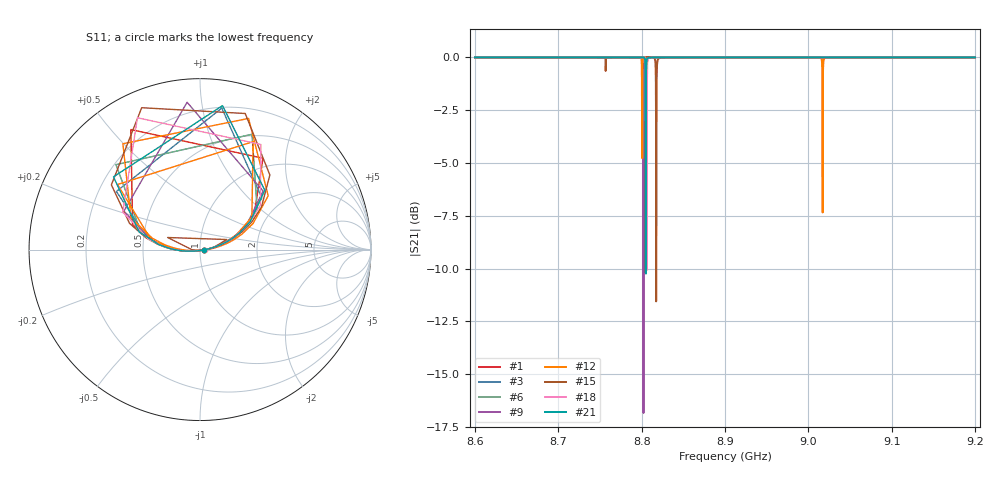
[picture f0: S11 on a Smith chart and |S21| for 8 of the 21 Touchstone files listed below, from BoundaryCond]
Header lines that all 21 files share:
! Sonnet Data File
! From: emgraph Version : 16.52
! From Project: 171117_Xmon_fullysym
! Data is De-embedded
!< HDATE 11/26/2017 17:24:49
!< MDATE 11/26/2017 17:24:49
!< PARAMS
!< END PARAMS
# GHZ S MA R 50.90000
Fixed: Lj = 11.0, Gap = 1.0, Pwid = 2000.0, Airgap = 6.0, Width = 10.0
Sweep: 8.6 GHz to 9.2 GHz
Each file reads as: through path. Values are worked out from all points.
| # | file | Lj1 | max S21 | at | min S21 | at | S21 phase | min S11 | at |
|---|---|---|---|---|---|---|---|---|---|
| 1 | Xmon_fullysym_VariL80.s2p | 8.0 | 0.00 dB | 8.7966 GHz | -8.3 dB | 8.803 GHz | -82 deg at 8.9 GHz | -45.4 dB | 8.798 GHz |
| 2 | Xmon_fullysym_VariL82.s2p | 8.2 | 0.00 dB | 8.7966 GHz | -16.8 dB | 8.803 GHz | -82 deg at 8.9 GHz | -45.4 dB | 8.798 GHz |
| 3 | Xmon_fullysym_VariL84.s2p | 8.4 | 0.00 dB | 8.7964 GHz | -10.1 dB | 8.803 GHz | -82 deg at 8.9 GHz | -45.4 dB | 8.798 GHz |
| 4 | Xmon_fullysym_VariL86.s2p | 8.6 | 0.00 dB | 8.7964 GHz | -5.6 dB | 8.8028 GHz | -82 deg at 8.9 GHz | -45.4 dB | 8.7978 GHz |
| 5 | Xmon_fullysym_VariL88.s2p | 8.8 | 0.00 dB | 8.7964 GHz | -17.5 dB | 8.8028 GHz | -82 deg at 8.9 GHz | -45.4 dB | 8.7978 GHz |
| 6 | Xmon_fullysym_VariL90.s2p | 9.0 | 0.00 dB | 8.7964 GHz | -5.3 dB | 8.8028 GHz | -82 deg at 8.9 GHz | -45.4 dB | 8.7978 GHz |
| 7 | Xmon_fullysym_VariL92.s2p | 9.2 | 0.00 dB | 8.7962 GHz | -14.5 dB | 8.8026 GHz | -82 deg at 8.9 GHz | -45.4 dB | 8.7976 GHz |
| 8 | Xmon_fullysym_VariL94.s2p | 9.4 | 0.00 dB | 8.7962 GHz | -15.5 dB | 8.8024 GHz | -82 deg at 8.9 GHz | -45.4 dB | 8.7976 GHz |
| 9 | Xmon_fullysym_VariL96.s2p | 9.6 | 0.00 dB | 8.796 GHz | -16.8 dB | 8.8022 GHz | -82 deg at 8.9 GHz | -45.4 dB | 8.7974 GHz |
| 10 | Xmon_fullysym_VariL98.s2p | 9.8 | 0.00 dB | 9.1824 GHz | -6.5 dB | 9.1898 GHz | -82 deg at 8.9 GHz | -46.1 dB | 9.1838 GHz |
| 11 | Xmon_fullysym_VariL100.s2p | 10.0 | 0.00 dB | 9.0946 GHz | -14.6 dB | 9.102 GHz | -82 deg at 8.9 GHz | -46.2 dB | 9.096 GHz |
| 12 | Xmon_fullysym_VariL102.s2p | 10.2 | 0.00 dB | 9.0094 GHz | -7.3 dB | 9.0172 GHz | -82 deg at 8.9 GHz | -46.2 dB | 9.0108 GHz |
| 13 | Xmon_fullysym_VariL104.s2p | 10.4 | 0.00 dB | 8.9274 GHz | -11.7 dB | 8.9356 GHz | -82 deg at 8.9 GHz | -46.3 dB | 8.9288 GHz |
| 14 | Xmon_fullysym_VariL106.s2p | 10.6 | 0.00 dB | 8.851 GHz | -20.4 dB | 8.861 GHz | -81 deg at 8.9 GHz | -46.2 dB | 8.8524 GHz |
| 15 | Xmon_fullysym_VariL108.s2p | 10.8 | 0.00 dB | 8.8068 GHz | -11.5 dB | 8.8174 GHz | -82 deg at 8.9 GHz | -49.1 dB | 8.756 GHz |
| 16 | Xmon_fullysym_VariL110.s2p | 11.0 | 0.00 dB | 8.801 GHz | -20.5 dB | 8.809 GHz | -82 deg at 8.9 GHz | -47.4 dB | 8.685 GHz |
| 17 | Xmon_fullysym_VariL112.s2p | 11.2 | 0.00 dB | 8.7992 GHz | -18.3 dB | 8.807 GHz | -82 deg at 8.9 GHz | -47.2 dB | 8.6122 GHz |
| 18 | Xmon_fullysym_VariL114.s2p | 11.4 | 0.00 dB | 8.7986 GHz | -10.1 dB | 8.806 GHz | -82 deg at 8.9 GHz | -45.5 dB | 8.8 GHz |
| 19 | Xmon_fullysym_VariL116.s2p | 11.6 | 0.00 dB | 8.7982 GHz | -7.7 dB | 8.8056 GHz | -82 deg at 8.9 GHz | -45.5 dB | 8.7996 GHz |
| 20 | Xmon_fullysym_VariL118.s2p | 11.8 | 0.00 dB | 8.798 GHz | -16.7 dB | 8.8052 GHz | -82 deg at 8.9 GHz | -45.5 dB | 8.7994 GHz |
| 21 | Xmon_fullysym_VariL120.s2p | 12.0 | 0.00 dB | 8.7978 GHz | -10.2 dB | 8.805 GHz | -82 deg at 8.9 GHz | -45.5 dB | 8.7992 GHz |
